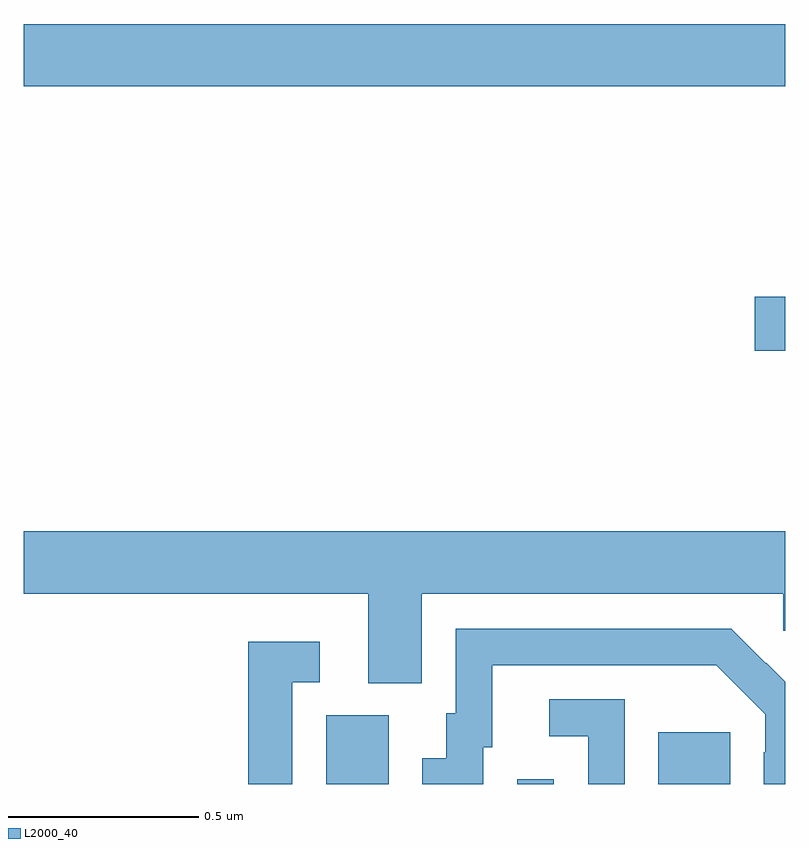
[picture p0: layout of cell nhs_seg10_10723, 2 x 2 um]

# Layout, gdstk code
import gdstk
lib = gdstk.Library(unit=1e-6, precision=1e-09)
def R(c, l, rs):  # rectangles x0, y0, x1, y1
    for r in rs: c.add(gdstk.rectangle(r[:2], r[2:], *l))
def P(c, l, *ps):  # polygons
    for p in ps: c.add(gdstk.Polygon(p, *l))
L2000_40 = (2000, 40)

nhs_seg10_10723 = lib.new_cell('nhs_seg10_10723')
R(nhs_seg10_10723, L2000_40, [(246.794,1282.5,246.958,1282.68), (247.296,1282.5,247.392,1282.513), (247.667,1282.5,247.855,1282.636), (247.92,1283.638,248,1283.78), (246,1284.332,248,1284.496)])
P(nhs_seg10_10723, L2000_40, [(247.045,1283),(247.995,1283),(247.995,1282.902),(248,1282.902),(248,1283.164),(246,1283.164),(246,1283),(246.905,1283),(246.905,1282.765),(247.045,1282.765)],
  [(247.207,1282.596),(247.231,1282.596),(247.231,1282.812),(247.819,1282.812),(247.947,1282.683),(247.947,1282.583),(247.944,1282.583),(247.944,1282.5),(248,1282.5),(248,1282.768),(247.95,1282.818),(247.949,1282.817),(247.858,1282.908),(247.134,1282.908),(247.134,1282.686),(247.109,1282.686),(247.109,1282.567),(247.046,1282.567),(247.046,1282.5),(247.207,1282.5)],
  [(246.705,1282.767),(246.778,1282.767),(246.778,1282.873),(246.589,1282.873),(246.589,1282.5),(246.705,1282.5)],
  [(247.578,1282.722),(247.38,1282.722),(247.38,1282.626),(247.482,1282.626),(247.482,1282.5),(247.578,1282.5)])

lib.write_gds('nhs_seg10_10723.gds')
